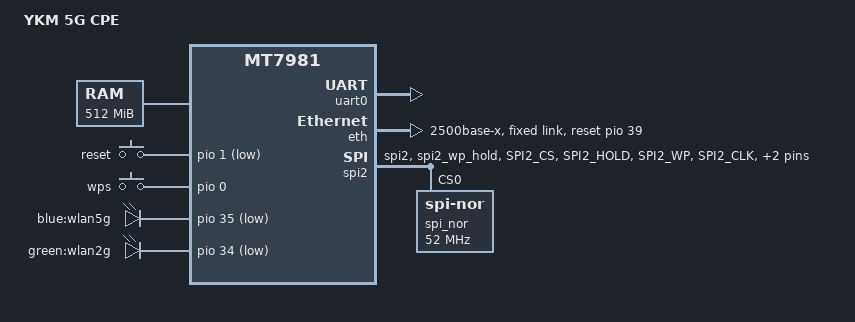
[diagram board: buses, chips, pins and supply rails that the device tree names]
// SPDX-License-Identifier: GPL-2.0

/dts-v1/;
#include "mt7981.dtsi"
#include <dt-bindings/gpio/gpio.h>

/ {
	#address-cells = <1>;
	#size-cells = <1>;
	model = "YKM 5G CPE";
	compatible = "ykm,5gcpe", "mediatek,mt7981", "mediatek,mt7981-rfb";

	chosen {
		stdout-path = &uart0;
		tick-timer = &timer0;
	};

	aliases {
		led-boot = &status_blue;
		led-failsafe = &status_blue;
		led-running = &status_blue;
		led-upgrade = &status_blue;
	};

	config {
		bootcmd = "mtkboardboot";
		blink_led = "blue:wlan5g";
		system_led = "green:wlan2g";
	};

	memory@40000000 {
		device_type = "memory";
		reg = <0x40000000 0x20000000>;
	};

	bl2_verify {
		bl2_compatible = "spim-nor";
	};

	gpio-keys {
		compatible = "gpio-keys";

		reset-button {
			label = "reset";
			linux,code = <KEY_RESTART>;
			gpios = <&pio 1 GPIO_ACTIVE_LOW>;
			debounce-interval = <100>;
		};

		wps-button {
			label = "wps";
			linux,code = <KEY_WPS_BUTTON>;
			gpios = <&pio 0 GPIO_ACTIVE_HIGH>;
			debounce-interval = <100>;
		};
	};

	gpio-leds {
		compatible = "gpio-leds";

		status_blue: status {
			label = "blue:wlan5g";
			gpios = <&pio 35 GPIO_ACTIVE_LOW>;
		};

		wlan2g {
			label = "green:wlan2g";
			gpios = <&pio 34 GPIO_ACTIVE_LOW>;
		};
	};
};

&uart0 {
	status = "okay";
};

&watchdog {
	status = "disabled";
};

&pio {
	spi2_flash_pins: spi2-pins {
		mux {
			function = "spi";
			groups = "spi2", "spi2_wp_hold";
		};

		conf-pu {
			pins = "SPI2_CS", "SPI2_HOLD", "SPI2_WP";
			drive-strength = <MTK_DRIVE_8mA>;
			bias-pull-up = <MTK_PUPD_SET_R1R0_11>;
		};

		conf-pd {
			pins = "SPI2_CLK", "SPI2_MOSI", "SPI2_MISO";
			drive-strength = <MTK_DRIVE_8mA>;
			bias-pull-down = <MTK_PUPD_SET_R1R0_11>;
		};
	};
};

&eth {
	status = "okay";
	mediatek,gmac-id = <0>;
	phy-mode = "2500base-x";
	mediatek,switch = "auto";
	reset-gpios = <&pio 39 GPIO_ACTIVE_HIGH>;

	fixed-link {
		speed = <2500>;
		full-duplex;
	};
};

&spi2 {
	#address-cells = <1>;
	#size-cells = <0>;
	pinctrl-names = "default";
	pinctrl-0 = <&spi2_flash_pins>;
	status = "okay";
	must_tx;
	enhance_timing;
	dma_ext;
	ipm_design;
	support_quad;
	tick_dly = <2>;
	sample_sel = <0>;

	spi_nor@0 {
		#address-cells = <1>;
		#size-cells = <1>;
		compatible = "jedec,spi-nor";
		spi-cal-enable;
		spi-cal-mode = "read-data";
		spi-cal-datalen = <7>;
		spi-cal-data = /bits/ 8 <
			0x53 0x46 0x5F 0x42 0x4F 0x4F 0x54>; /* SF_BOOT */
		spi-cal-addrlen = <1>;
		spi-cal-addr = /bits/ 32 <0x0>;
		reg = <0>;
		spi-max-frequency = <52000000>;
		spi-tx-bus-width = <4>;
		spi-rx-bus-width = <4>;
	};
};
